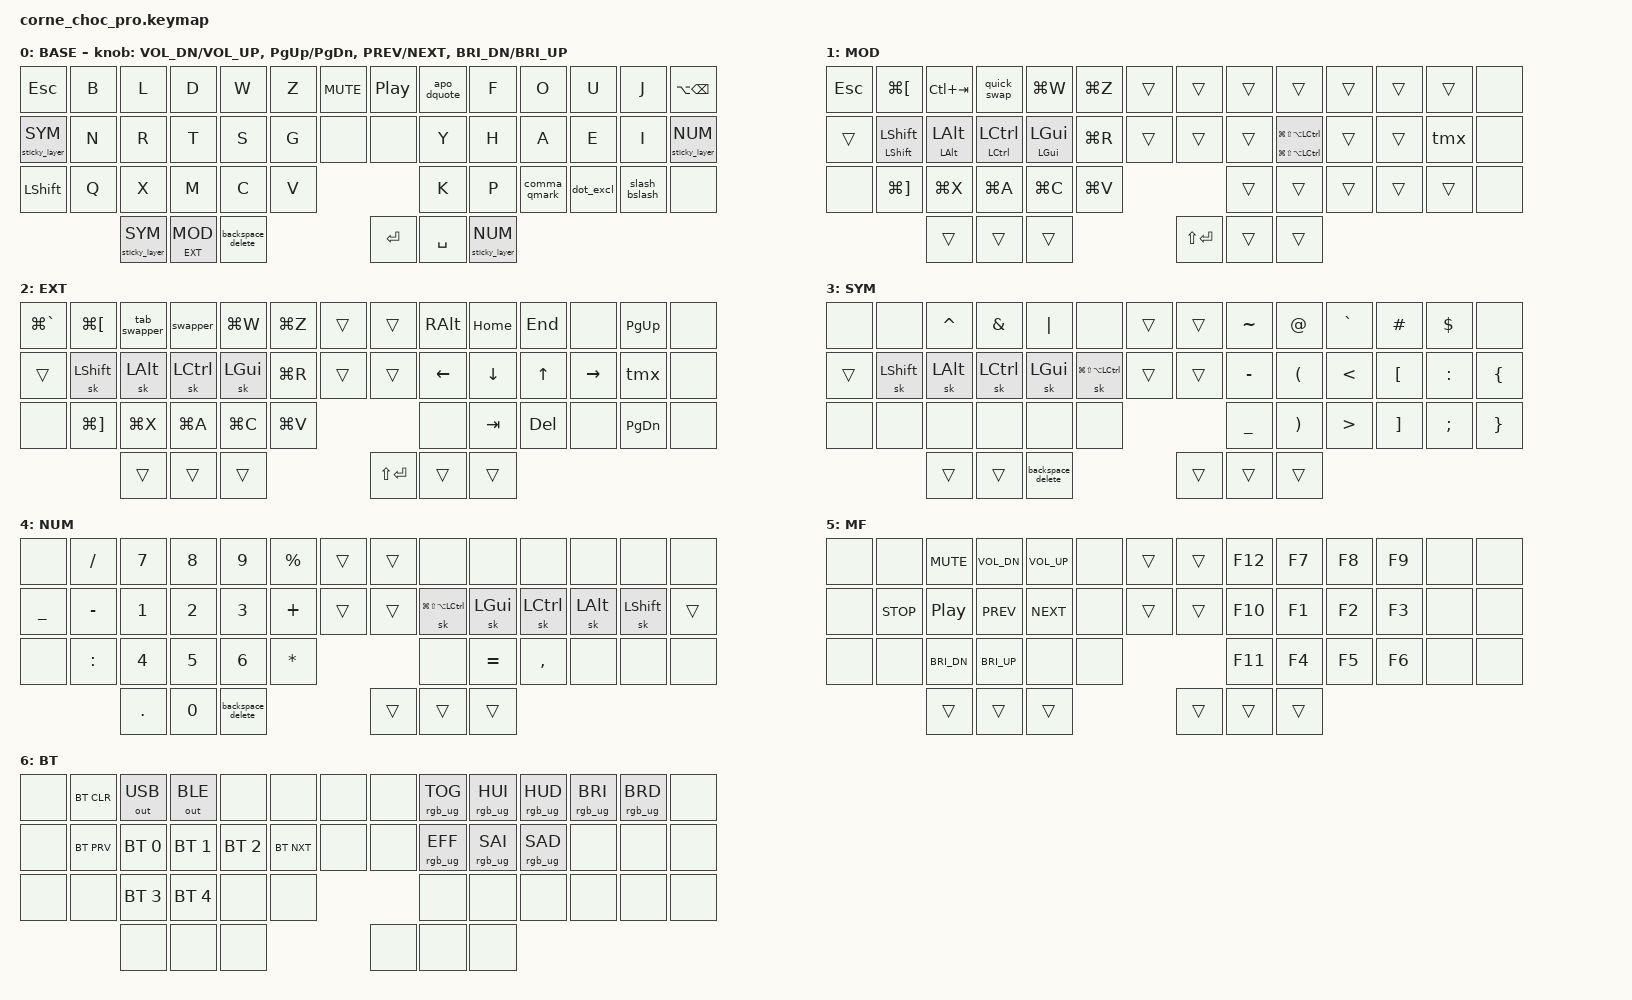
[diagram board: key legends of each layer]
//
// Corne Choc Pro layout — synced from Totem config
// - Graphite base
// - Dedicated MOD layer instead of base home row mods
// - Hold EXT for navigation/editing, tap EXT for sticky MOD
// - EXT left hand: one-handed mouse companion (swapper, history, clipboard),
//   mirrored on MOD so tap-then-key one-shots the same shortcuts
// - Top-left is Escape on BASE and MOD, and Cmd+grave on EXT
// - Home-left is sticky SYM. Home-right is sticky NUM
// - Bottom-left is Shift on BASE only. EXT leaves that key empty so the
//   switchers still ignore only the home-row Shift
// - Dedicated Backspace, Enter, and Space; sticky-tap/held SYM and NUM
// - Backspace stays on the inner-left thumb on SYM and NUM (Shift + Backspace sends Delete)
// - Delete stays on the EXT comma position
// - The top-right key on BASE sends Alt+Backspace
// - Symbols prioritized for markup and writing
// - SYM + NUM opens the shared media/function layer
// - MOD/EXT + NUM opens the BT layer
// - BT controls on left, RGB controls on right of BT layer
//
// Extra Corne keys vs Totem:
//   Top-left (pos 0) → Escape on BASE and MOD, Cmd+grave on EXT
//   Home-left (pos 14) → sticky SYM
//   Home-right (pos 27) → sticky NUM
//   Bottom-left (pos 28) → Shift on BASE only. EXT leaves it empty so the
//     switchers still ignore only the home-row Shift
//   Top-right (pos 13) → Alt+Backspace on BASE
//   Bottom-right (pos 39) → unused on BASE
//   Center keys (pos 6, 7, 20, 21) → encoder press / &none

#include <behaviors.dtsi>
#include <dt-bindings/zmk/keys.h>
#include <dt-bindings/zmk/bt.h>
#include <dt-bindings/zmk/outputs.h>
#include <dt-bindings/zmk/rgb.h>

#define BASE 0
#define MOD  1
#define EXT  2
#define SYM  3
#define NUM  4
#define MF   5
#define BT   6

#define HYPER_MOD LG(LS(LA(LCTRL)))

/ {
    chosen {
        zmk,physical-layout = &default_layout;
    };
};

/ {
    behaviors {
        apo_dquote: apostrophe_doublequote {
            compatible = "zmk,behavior-mod-morph";
            #binding-cells = <0>;
            bindings = <&kp SQT>, <&kp DQT>;
            mods = <(MOD_LSFT|MOD_RSFT)>;
        };

        comma_qmark: comma_question_mark {
            compatible = "zmk,behavior-mod-morph";
            #binding-cells = <0>;
            bindings = <&kp COMMA>, <&kp QMARK>;
            mods = <(MOD_LSFT|MOD_RSFT)>;
        };

        dot_excl: dot_exclamation {
            compatible = "zmk,behavior-mod-morph";
            #binding-cells = <0>;
            bindings = <&kp DOT>, <&kp EXCL>;
            mods = <(MOD_LSFT|MOD_RSFT)>;
        };

        slash_bslash: slash_backslash {
            compatible = "zmk,behavior-mod-morph";
            #binding-cells = <0>;
            bindings = <&kp FSLH>, <&kp BSLH>;
            mods = <(MOD_LSFT|MOD_RSFT)>;
        };

        backspace_delete: backspace_delete {
            compatible = "zmk,behavior-mod-morph";
            #binding-cells = <0>;
            bindings = <&kp BSPC>, <&kp DEL>;
            mods = <(MOD_LSFT|MOD_RSFT)>;
        };

        hm: hybrid_mod {
            compatible = "zmk,behavior-hold-tap";
            #binding-cells = <2>;
            flavor = "tap-preferred";
            tapping-term-ms = <300>;
            quick-tap-ms = <175>;
            bindings = <&kp>, <&sk>;
            retro-tap;
        };

        ext_mod: ext_or_mod {
            compatible = "zmk,behavior-hold-tap";
            #binding-cells = <2>;
            flavor = "balanced";
            tapping-term-ms = <200>;
            quick-tap-ms = <175>;
            bindings = <&mo>, <&sl>;
            retro-tap;
        };

        // Cmd-Tab app switcher: holds Cmd across taps, released on
        // interrupt (any other key or leaving EXT). Sticky Shift (pos 15)
        // is ignored so it can reverse-cycle without dropping Cmd.
        swapper: swapper {
            compatible = "zmk,behavior-tri-state";
            #binding-cells = <0>;
            bindings = <&kt LGUI>, <&kp TAB>, <&kt LGUI>;
            ignored-key-positions = <15>;
        };

        // Ctrl-Tab tab switcher: same tri-state as swapper but holds Ctrl,
        // so taps cycle tabs while the browser switcher stays up. Sticky
        // Shift (pos 15) is ignored so it can reverse-cycle (Ctrl+Shift+Tab).
        tab_swapper: tab_swapper {
            compatible = "zmk,behavior-tri-state";
            #binding-cells = <0>;
            bindings = <&kt LCTRL>, <&kp TAB>, <&kt LCTRL>;
            ignored-key-positions = <15>;
        };

        // SYM/NUM activate immediately, stay sticky when tapped, and behave
        // momentarily when a non-modifier is pressed while held. Modifier
        // presses do not consume the sticky layer, allowing e.g. tap NUM,
        // tap Ctrl+Shift, then tap 1.
        sticky_layer: sticky_or_held_layer {
            compatible = "zmk,behavior-sticky-key";
            #binding-cells = <1>;
            release-after-ms = <1000>;
            bindings = <&mo>;
            quick-release;
            ignore-modifiers;
        };
    };

    macros {
        // Instant switch to previous app: Cmd released right away so
        // the macOS switcher UI never shows (unlike &kp LG(TAB)).
        quick_swap: quick_app_swap {
            compatible = "zmk,behavior-macro";
            #binding-cells = <0>;
            bindings = <&macro_press &kp LGUI>,
                       <&macro_tap &kp TAB>,
                       <&macro_release &kp LGUI>;
        };

        tmx: tmux_prefix {
            compatible = "zmk,behavior-macro";
            #binding-cells = <0>;
            bindings = <&macro_press &kp LCTRL>,
                       <&macro_tap &kp SPACE>,
                       <&macro_release &kp LCTRL>;
        };
    };

    combos {
        compatible = "zmk,combos";

        // Word-left: H + A (Corne positions 23 + 24)
        combo_word_left {
            timeout-ms = <50>;
            key-positions = <23 24>;
            bindings = <&kp LA(LEFT)>;
            layers = <EXT>;
        };

        // Word-right: A + E (Corne positions 24 + 25)
        combo_word_right {
            timeout-ms = <50>;
            key-positions = <24 25>;
            bindings = <&kp LA(RIGHT)>;
            layers = <EXT>;
        };

        // Keep parentheses, angle brackets, and square brackets on direct keys.
        // Braces use the same index-middle fingers: openings above, closings below.
        combo_sym_lbrc {
            timeout-ms = <50>;
            key-positions = <23 24>;
            bindings = <&kp LBRC>;
            layers = <SYM>;
        };

        combo_sym_rbrc {
            timeout-ms = <50>;
            key-positions = <35 36>;
            bindings = <&kp RBRC>;
            layers = <SYM>;
        };

        // The mirrored outer layer thumbs open Media/Function together.
        // Media/Function: SYM + NUM (Corne positions 40 + 45)
        combo_mf_layer_thumbs {
            timeout-ms = <100>;
            key-positions = <40 45>;
            bindings = <&mo MF>;
            layers = <BASE>;
        };

        // MOD/EXT + the right outer NUM key is reserved for maintenance.
        // BT layer: Corne positions 41 + 45.
        combo_bt {
            timeout-ms = <100>;
            key-positions = <41 45>;
            bindings = <&mo BT>;
            layers = <BASE>;
        };
    };

    keymap {
        compatible = "zmk,keymap";

        base_layer {
            label = "BASE";
            bindings = <
        //  ┌─extra─┐                                                          ┌─enc──┐ ┌─enc──┐                                                          ┌─extra─┐
            &kp ESC   &kp B        &kp L        &kp D        &kp W     &kp Z    &kp C_MUTE &kp C_PP &apo_dquote &kp F        &kp O        &kp U        &kp J     &kp LA(BSPC)
        //  ┌outer-L┐                                                          ┌─ctr──┐ ┌─ctr──┐                                                          ┌outer-R┐
            &sticky_layer SYM  &kp N       &kp R        &kp T        &kp S     &kp G    &none  &none    &kp Y       &kp H        &kp A        &kp E        &kp I     &sticky_layer NUM
        //  ┌─extra─┐                                                                                                                                      ┌─extra─┐
            &kp LSHFT  &kp Q        &kp X        &kp M        &kp C     &kp V                    &kp K       &kp P        &comma_qmark &dot_excl    &slash_bslash &none
                                          &sticky_layer SYM      &ext_mod EXT MOD  &backspace_delete                    &kp RET  &kp SPACE  &sticky_layer NUM
            >;
            sensor-bindings = <&inc_dec_kp C_VOL_DN C_VOL_UP &inc_dec_kp PG_UP PG_DN &inc_dec_kp C_PREV C_NEXT &inc_dec_kp C_BRI_DN C_BRI_UP>;
        };

        mod_layer {
            label = "MOD";
            bindings = <
            &kp ESC      &kp LG(LBKT)  &kp LC(TAB)  &quick_swap  &kp LG(W)    &kp LG(Z)        &trans &trans &trans       &trans       &trans       &trans       &trans       &none
            &trans        &hm LSHFT LSHFT &hm LALT LALT &hm LCTRL LCTRL &hm LGUI LGUI &kp LG(R) &trans &trans &trans &hm HYPER_MOD HYPER_MOD &trans &trans &tmx &none
            &none        &kp LG(RBKT)  &kp LG(X)    &kp LG(A)    &kp LG(C)    &kp LG(V)                     &trans       &trans       &trans       &trans       &trans       &none
                                             &trans       &trans       &trans                     &kp LS(RET)  &trans       &trans
            >;
        };

        ext_layer {
            label = "EXT";
            bindings = <
            &kp LG(GRAVE) &kp LG(LBKT)  &tab_swapper &swapper     &kp LG(W)    &kp LG(Z)        &trans &trans &kp RALT     &kp HOME     &kp END      &none        &kp PG_UP    &none
            &trans        &sk LSHFT     &sk LALT     &sk LCTRL    &sk LGUI     &kp LG(R)        &trans &trans &kp LEFT     &kp DOWN     &kp UP       &kp RIGHT    &tmx         &none
            &none        &kp LG(RBKT)  &kp LG(X)    &kp LG(A)    &kp LG(C)    &kp LG(V)                     &none        &kp TAB      &kp DEL      &none        &kp PG_DN    &none
                                             &trans       &trans       &trans                      &kp LS(RET)  &trans       &trans
            >;
        };

        sym_layer {
            label = "SYM";
            bindings = <
            &none  &none        &kp CARET    &kp AMPS     &kp PIPE     &none         &trans &trans &kp TILDE    &kp AT       &kp GRAVE    &kp HASH     &kp DLLR     &none
            &trans &sk LSHFT    &sk LALT     &sk LCTRL    &sk LGUI     &sk HYPER_MOD &trans &trans &kp MINUS    &kp LPAR     &kp LT       &kp LBKT     &kp COLON    &kp LBRC
            &none  &none        &none        &none        &none        &none                      &kp UNDER    &kp RPAR     &kp GT       &kp RBKT     &kp SEMI     &kp RBRC
                                             &trans       &trans       &backspace_delete           &trans       &trans       &trans
            >;
        };

        num_layer {
            label = "NUM";
            bindings = <
            &none  &kp FSLH     &kp N7       &kp N8       &kp N9       &kp PRCNT     &trans &trans &none        &none        &none        &none        &none        &none
            &kp UNDER &kp MINUS    &kp N1       &kp N2       &kp N3       &kp PLUS      &trans &trans &sk HYPER_MOD &sk LGUI    &sk LCTRL    &sk LALT     &sk LSHFT    &trans
            &none  &kp COLON    &kp N4       &kp N5       &kp N6       &kp ASTRK                  &none        &kp EQUAL    &kp COMMA    &none        &none        &none
                                             &kp DOT      &kp N0       &backspace_delete            &trans       &trans       &trans
            >;
        };

        mf_layer {
            label = "MF";
            bindings = <
            &none  &none        &kp C_MUTE   &kp C_VOL_DN &kp C_VOL_UP &none         &trans &trans &kp F12      &kp F7       &kp F8       &kp F9       &none        &none
            &none  &kp C_STOP   &kp C_PP     &kp C_PREV   &kp C_NEXT   &none         &trans &trans &kp F10      &kp F1       &kp F2       &kp F3       &none        &none
            &none  &none        &kp C_BRI_DN &kp C_BRI_UP &none        &none                      &kp F11      &kp F4       &kp F5       &kp F6       &none        &none
                                             &trans       &trans       &trans                      &trans       &trans       &trans
            >;
        };

        bt_layer {
            label = "BT";
            bindings = <
            &none  &bt BT_CLR   &out OUT_USB &out OUT_BLE &none        &none         &none  &none  &rgb_ug RGB_TOG &rgb_ug RGB_HUI &rgb_ug RGB_HUD &rgb_ug RGB_BRI &rgb_ug RGB_BRD &none
            &none  &bt BT_PRV   &bt BT_SEL 0 &bt BT_SEL 1 &bt BT_SEL 2 &bt BT_NXT  &none  &none  &rgb_ug RGB_EFF &rgb_ug RGB_SAI &rgb_ug RGB_SAD &none           &none           &none
            &none  &none        &bt BT_SEL 3 &bt BT_SEL 4 &none        &none                      &none           &none           &none           &none           &none           &none
                                             &none        &none        &none                       &none           &none           &none
            >;
        };
    };
};
